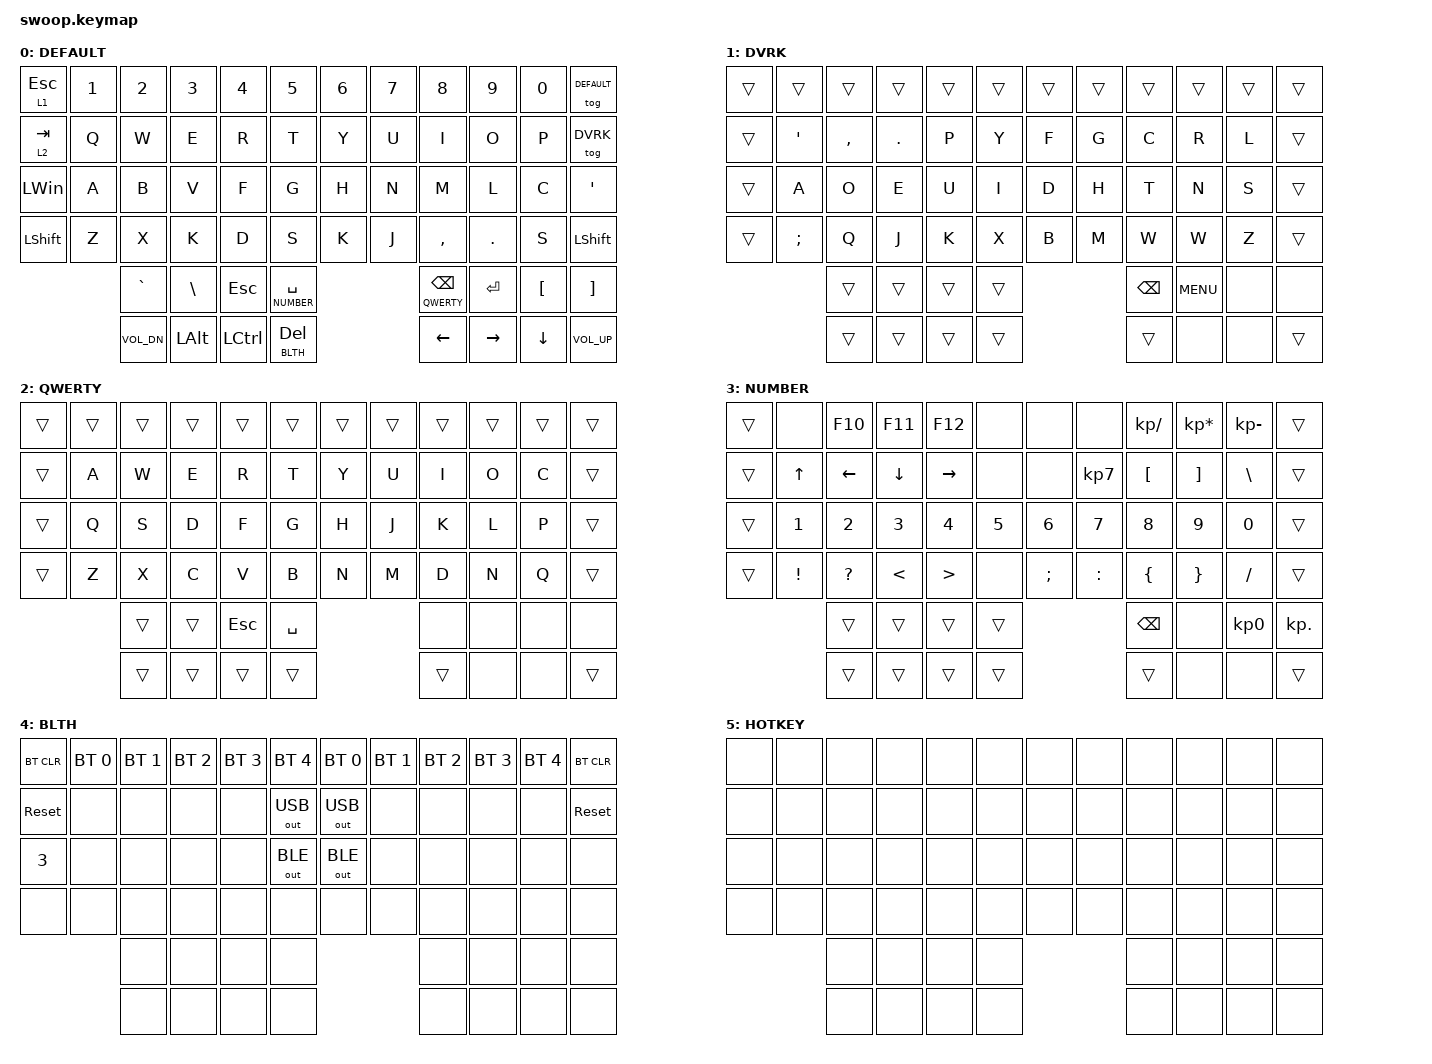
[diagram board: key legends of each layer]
#include <behaviors.dtsi>
#include <dt-bindings/zmk/bt.h>
#include <dt-bindings/zmk/keys.h>
#include <dt-bindings/zmk/outputs.h>

#define DEFAULT 0
#define DVRK    1
#define QWERTY  2
#define NUMBER  3
#define SYMBOL  4
#define READ    5
#define BLTH    6
#define HOTKEY  7

#define AS(keycode) &as LS(keycode) keycode

/ {
    behaviors {
        td0: tap_dance_0 {
            compatible = "zmk,behavior-tap-dance";
            label = "TAP_DANCE_0";
            #binding-cells = <0>;
            tapping-term-ms = <200>;
            bindings =
                <&kp ESC>,
                <&kp TAB>;
        };
    };

    behaviors {
        as: auto_shift {
            compatible = "zmk,behavior-hold-tap";
            label = "AUTO_SHIFT";
            #binding-cells = <2>;
            tapping-term-ms = <200>;
            quick-tap-ms = <0>;
            flavor = "tap-preferred";
            bindings =
                <&kp>,
                <&kp>;
        };
        modcp: mod_copy {
            compatible = "zmk,behavior-mod-morph";
            label = "MOD_COPY";
            #binding-cells = <0>;
            bindings =
                <&as LS(C) C>,
                <&kp C>;

            mods = <(LGUI | RGUI)>;
        };
    };

    macros {
        macro_phone: macro_phone {
            // 1351

            label = "MACRO_PHONE";
            compatible = "zmk,behavior-macro";
            #binding-cells = <0>;
            bindings = <&kp N1 &kp N3 &kp N5 &kp N1>;
        };
        macro_email_q: macro_email_q {
            // 2894512440@qq.com

            label = "MACRO_EMAIL_QQ";
            compatible = "zmk,behavior-macro";
            #binding-cells = <0>;
            bindings = <&kp N2 &kp N8 &kp N9 &kp N4 &kp N5 &kp N1 &kp N2 &kp N4 &kp N4 &kp N0 &kp AT &kp Q &kp Q &kp DOT &kp C &kp O &kp M>;
        };
        macro_email_g: macro_email_g {
            // 135115

            compatible = "zmk,behavior-macro";
            label = "MACRO_EMAIL_GMAIL";
            #binding-cells = <0>;
            bindings = <&kp N1 &kp N3 &kp N5 &kp N1 &kp N1 &kp N5>;
        };
    };

    combos {
        compatible = "zmk,combos";

        combo_LSHFT {
            timeout-ms = <50>;
            key-positions = <14 15>;
            bindings = <&kp  LSHFT>;
        };
    };

    keymap {
        compatible = "zmk,keymap";
        default_layer {
            label = "DEFAULT";
            bindings = <
&lt 1 ESC  &kp N1        &kp N2    &kp N3     &kp N4        &kp N5    &kp N6     &kp N7     &kp N8        &kp N9    &kp N0  &tog DEFAULT
&lt 2 TAB   &kp Q         &kp W     &kp E      &kp R         &kp T     &kp Y      &kp U      &kp I         &kp O     &kp P  &tog DVRK
&kp LWIN   &kp A         &kp B     &kp V      &kp F         &kp G     &kp H      &kp N      &kp M         &kp L  &kp C      &kp SQT
 &kp LSHFT   &kp Z         &kp X     &kp K      &kp D         &kp S     &kp K      &kp J  &kp COMMA       &kp DOT  &kp S    &kp LSHFT
                      &kp GRAVE  &kp BSLH   &kp ESC     &lt NUMBER SPACE    &lt QWERTY BSPC  &kp ENTER   &kp LBKT      &kp RBKT
                   &kp C_VOL_DN  &kp LALT  &kp LCTRL  &mt BLTH DEL  &kp LEFT  &kp RIGHT   &kp DOWN  &kp C_VOL_UP
            >;
        };
        dvorak_layer {
            label = "DVRK";
            bindings = <
&trans   &trans     &trans     &trans      &trans  &trans     &trans  &trans &trans &trans  &trans    &trans
&trans   &kp SQT    &kp COMMA  &kp PERIOD  &kp P   &kp Y      &kp F   &kp G  &kp C  &kp R   &kp L     &trans
&trans   &kp A      &kp O      &kp E       &kp U   &kp I      &kp D   &kp H  &kp T  &kp N   &kp S     &trans
&trans   &kp SEMI   &kp Q      &kp J       &kp K   &kp X      &kp B   &kp M  &kp W  &kp W   &kp Z     &trans
                       &trans   &trans   &trans  &trans   &kp BSPC      &kp C_MENU     &none       &none
                       &trans   &trans   &trans  &trans  &trans      &none         &none           &trans
            >;
        };

        qwerty_layer {
            label = "QWERTY";
            bindings = <
&trans   &trans  &trans   &trans   &trans  &trans     &trans  &trans &trans &trans  &trans     &trans
&trans   &kp A   &kp W    &kp E    &kp R   &kp T      &kp Y   &kp U  &kp I  &kp O   &kp C      &trans
&trans   &kp Q   &kp S    &kp D    &kp F   &kp G      &kp H   &kp J  &kp K  &kp L   &kp P      &trans
&trans   &kp Z   &kp X    &kp C    &kp V   &kp B      &kp N   &kp M  &kp D  &kp N   &kp Q      &trans
                       &trans   &trans   &kp ESC  &kp SPACE   &none      &none     &none       &none
                       &trans   &trans   &trans  &trans  &trans      &none         &none           &trans
            >;
        };

        number_layer {
            label = "NUMBER";
            bindings = <
&trans     &none     &kp F10  &kp F11  &kp F12   &none   &none      &none  &kp KP_SLASH  &kp KP_MULTIPLY  &kp KP_MINUS      &trans
&trans     &kp UP    &kp LEFT   &kp DOWN   &kp RIGHT   &none     &none    &kp KP_N7     &kp LBKT   &kp RBKT   &kp BSLH      &trans
&trans     &kp N1    &kp N2     &kp N3     &kp N4      &kp N5    &kp N6   &kp N7        &kp N8     &kp N9     &kp N0        &trans
&trans     &kp EXCL  &kp QMARK  &kp LT     &kp GT      &none     &kp SEMI &kp COLON     &kp LBRC   &kp RBRC   &kp SLASH     &trans
                       &trans   &trans   &trans  &trans   &kp BSPC      &none     &kp KP_N0       &kp KP_DOT
                       &trans   &trans   &trans  &trans  &trans      &none         &none           &trans
            >;
        };
        symbol_layer {
            label = "BLTH";
            bindings = <
&bt BT_CLR  &bt BT_SEL 0  &bt BT_SEL 1  &bt BT_SEL 2  &bt BT_SEL 3  &bt BT_SEL 4    &bt BT_SEL 0  &bt BT_SEL 1  &bt BT_SEL 2  &bt BT_SEL 3  &bt BT_SEL 4  &bt BT_CLR
  &sys_reset         &none         &none         &none         &none  &out OUT_USB  &out OUT_USB         &none         &none         &none         &none  &sys_reset
      &kp N3         &none         &none         &none         &none  &out OUT_BLE  &out OUT_BLE         &none         &none         &none         &none       &none
       &none         &none         &none         &none         &none         &none         &none         &none         &none         &none         &none       &none
                                   &none         &none         &none         &none         &none         &none         &none         &none
                                   &none         &none         &none         &none         &none         &none         &none         &none
            >;
        };
        hotkey_layer {
            label = "HOTKEY";
            bindings = <
&none  &none  &none  &none  &none  &none  &none  &none  &none  &none  &none  &none
&none  &none  &none  &none  &none  &none  &none  &none  &none  &none  &none  &none
&none  &none  &none  &none  &none  &none  &none  &none  &none  &none  &none  &none
&none  &none  &none  &none  &none  &none  &none  &none  &none  &none  &none  &none
              &none  &none  &none  &none  &none  &none  &none  &none
              &none  &none  &none  &none  &none  &none  &none  &none
            >;
        };
    };
};
